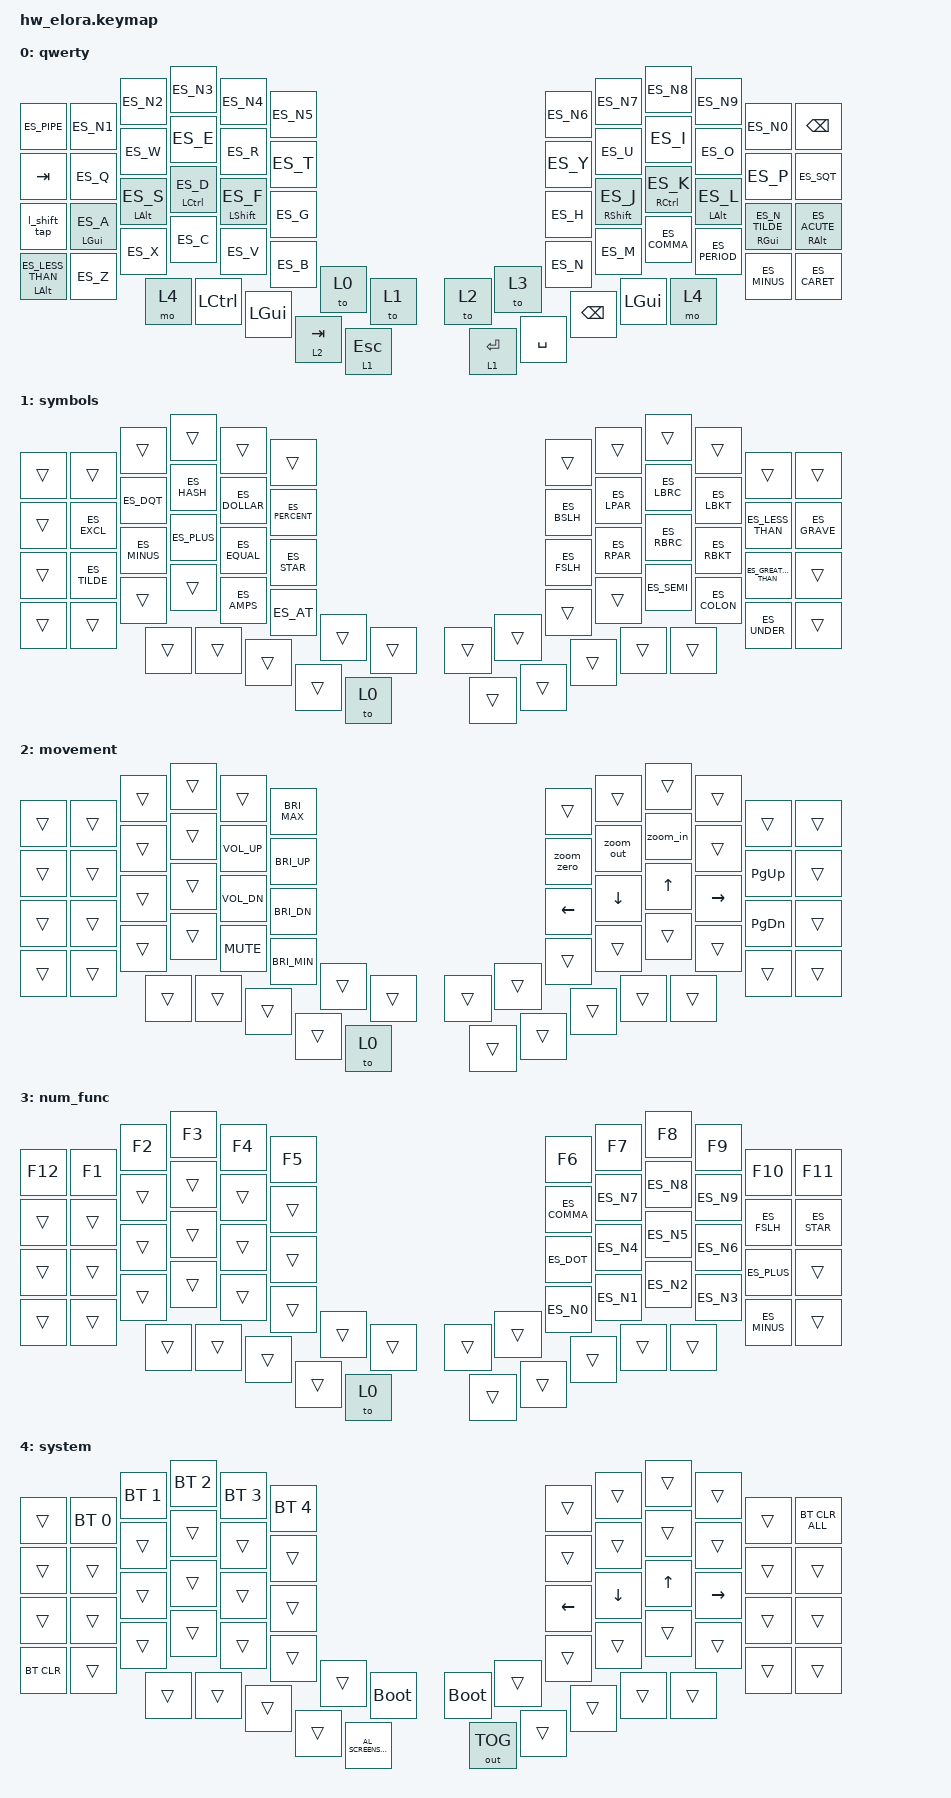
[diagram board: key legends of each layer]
/*
 * Copyright (c) 2020 The ZMK Contributors
 *
 * SPDX-License-Identifier: MIT
 */

#include "keys_es_latin_american.h"
#include <behaviors.dtsi>
#include <dt-bindings/zmk/bt.h>
#include <dt-bindings/zmk/keys.h>
#include <dt-bindings/zmk/outputs.h>

&mt {
    flavor = "tap-preferred";
    quick-tap-ms = <125>;
};

/ {
    macros {
        zoom_in: zoom_in {
            compatible = "zmk,behavior-macro";
            #binding-cells = <0>;
            bindings = <&sk LCTRL &kp ES_PLUS>;
            label = "ZOOM_IN";
        };

        zoom_out: zoom_out {
            compatible = "zmk,behavior-macro";
            #binding-cells = <0>;
            bindings = <&sk LEFT_CONTROL &kp ES_MINUS>;
            label = "ZOOM_OUT";
        };

        zoom_zero: zoom_zero {
            compatible = "zmk,behavior-macro";
            #binding-cells = <0>;
            bindings = <&sk LCTRL &kp ES_N0>;
            label = "ZOOM_ZERO";
        };
    };

    behaviors {
        l_shift_tap: left_shift_tap {
            compatible = "zmk,behavior-tap-dance";
            label = "L_SHIFT_T";
            #binding-cells = <0>;
            bindings = <&kp LEFT_SHIFT>, <&caps_word>;
        };
    };

    keymap {
        compatible = "zmk,keymap";

        qwerty {
            // --------------------------------------------------------------------------------------------------------------------------------------------------------------------
            // |   ESC   |    Q    |    W    |    E    |    R    |    T    |                                          |    Y    |    U    |    I    |    O    |    P    |    \    |
            // |   TAB   |    A    |    S    |    D    |    F    |    G    |                                          |    H    |    J    |    K    |    L    |    ;    |    '    |
            // |  SHIFT  |    Z    |    X    |    C    |    V    |    B    | CTRL+A  | CTRL+C  |  |  CTRL+V |  CTRL+X |    N    |    M    |    ,    |    .    |    /    |  R CTRL |
            //                               |   GUI   |   DEL   | RETURN  |  SPACE  | ESCAPE  |  |  RETURN |  SPACE  |   TAB   |   BSPC  |  R ALT  |

            bindings = <
&kp ES_PIPE                &kp ES_N1          &kp ES_N2          &kp ES_N3              &kp ES_N4            &kp ES_N5                                                   &kp ES_N6      &kp ES_N7             &kp ES_N8               &kp ES_N9          &kp ES_N0                 &kp BACKSPACE
&kp TAB                    &kp ES_Q           &kp ES_W           &kp ES_E               &kp ES_R             &kp ES_T                                                    &kp ES_Y       &kp ES_U              &kp ES_I                &kp ES_O           &kp ES_P                  &kp ES_SQT
&l_shift_tap               &mt LEFT_GUI ES_A  &mt LEFT_ALT ES_S  &mt LEFT_CONTROL ES_D  &mt LEFT_SHIFT ES_F  &kp ES_G                                                    &kp ES_H       &mt RIGHT_SHIFT ES_J  &mt RIGHT_CONTROL ES_K  &mt LEFT_ALT ES_L  &mt RIGHT_GUI ES_N_TILDE  &mt RALT ES_ACUTE
&mt LEFT_ALT ES_LESS_THAN  &kp ES_Z           &kp ES_X           &kp ES_C               &kp ES_V             &kp ES_B      &to 0      &to 1      &to 2        &to 3      &kp ES_N       &kp ES_M              &kp ES_COMMA            &kp ES_PERIOD      &kp ES_MINUS              &kp ES_CARET
                                                                 &mo 4                  &kp LEFT_CONTROL     &kp LEFT_GUI  &lt 2 TAB  &lt 1 ESC  &lt 1 ENTER  &kp SPACE  &kp BACKSPACE  &kp LEFT_GUI          &mo 4
            >;
        };

        symbols {
            bindings = <
&trans  &trans        &trans        &trans       &trans         &trans                                          &trans       &trans       &trans       &trans        &trans               &trans
&trans  &kp ES_EXCL   &kp ES_DQT    &kp ES_HASH  &kp ES_DOLLAR  &kp ES_PERCENT                                  &kp ES_BSLH  &kp ES_LPAR  &kp ES_LBRC  &kp ES_LBKT   &kp ES_LESS_THAN     &kp ES_GRAVE
&trans  &kp ES_TILDE  &kp ES_MINUS  &kp ES_PLUS  &kp ES_EQUAL   &kp ES_STAR                                     &kp ES_FSLH  &kp ES_RPAR  &kp ES_RBRC  &kp ES_RBKT   &kp ES_GREATER_THAN  &trans
&trans  &trans        &trans        &trans       &kp ES_AMPS    &kp ES_AT       &trans  &trans  &trans  &trans  &trans       &trans       &kp ES_SEMI  &kp ES_COLON  &kp ES_UNDER         &trans
                                    &trans       &trans         &trans          &trans  &to 0   &trans  &trans  &trans       &trans       &trans
            >;
        };

        movement {
            bindings = <
&trans  &trans  &trans  &trans  &trans        &kp C_BRI_MAX                                  &trans      &trans     &trans    &trans     &trans         &trans
&trans  &trans  &trans  &trans  &kp C_VOL_UP  &kp C_BRI_UP                                   &zoom_zero  &zoom_out  &zoom_in  &trans     &kp PAGE_UP    &trans
&trans  &trans  &trans  &trans  &kp C_VOL_DN  &kp C_BRI_DN                                   &kp LEFT    &kp DOWN   &kp UP    &kp RIGHT  &kp PAGE_DOWN  &trans
&trans  &trans  &trans  &trans  &kp K_MUTE    &kp C_BRI_MIN  &trans  &trans  &trans  &trans  &trans      &trans     &trans    &trans     &trans         &trans
                        &trans  &trans        &trans         &trans  &to 0   &trans  &trans  &trans      &trans     &trans
            >;
        };

        num_func {
            bindings = <
&kp F12  &kp F1  &kp F2  &kp F3  &kp F4  &kp F5                                  &kp F6        &kp F7     &kp F8     &kp F9     &kp F10       &kp F11
&trans   &trans  &trans  &trans  &trans  &trans                                  &kp ES_COMMA  &kp ES_N7  &kp ES_N8  &kp ES_N9  &kp ES_FSLH   &kp ES_STAR
&trans   &trans  &trans  &trans  &trans  &trans                                  &kp ES_DOT    &kp ES_N4  &kp ES_N5  &kp ES_N6  &kp ES_PLUS   &trans
&trans   &trans  &trans  &trans  &trans  &trans  &trans  &trans  &trans  &trans  &kp ES_N0     &kp ES_N1  &kp ES_N2  &kp ES_N3  &kp ES_MINUS  &trans
                         &trans  &trans  &trans  &trans  &to 0   &trans  &trans  &trans        &trans     &trans
            >;
        };

        system {
            bindings = <
&trans      &bt BT_SEL 0  &bt BT_SEL 1  &bt BT_SEL 2  &bt BT_SEL 3  &bt BT_SEL 4                                                     &trans          &trans    &trans  &trans     &trans  &bt BT_CLR_ALL
&trans      &trans        &trans        &trans        &trans        &trans                                                           &trans          &trans    &trans  &trans     &trans  &trans
&trans      &trans        &trans        &trans        &trans        &trans                                                           &kp LEFT_ARROW  &kp DOWN  &kp UP  &kp RIGHT  &trans  &trans
&bt BT_CLR  &trans        &trans        &trans        &trans        &trans        &trans  &bootloader           &bootloader  &trans  &trans          &trans    &trans  &trans     &trans  &trans
                                        &trans        &trans        &trans        &trans  &kp C_AL_SCREENSAVER  &out OUT_TOG &trans  &trans          &trans    &trans
            >;
        };
    };
};
